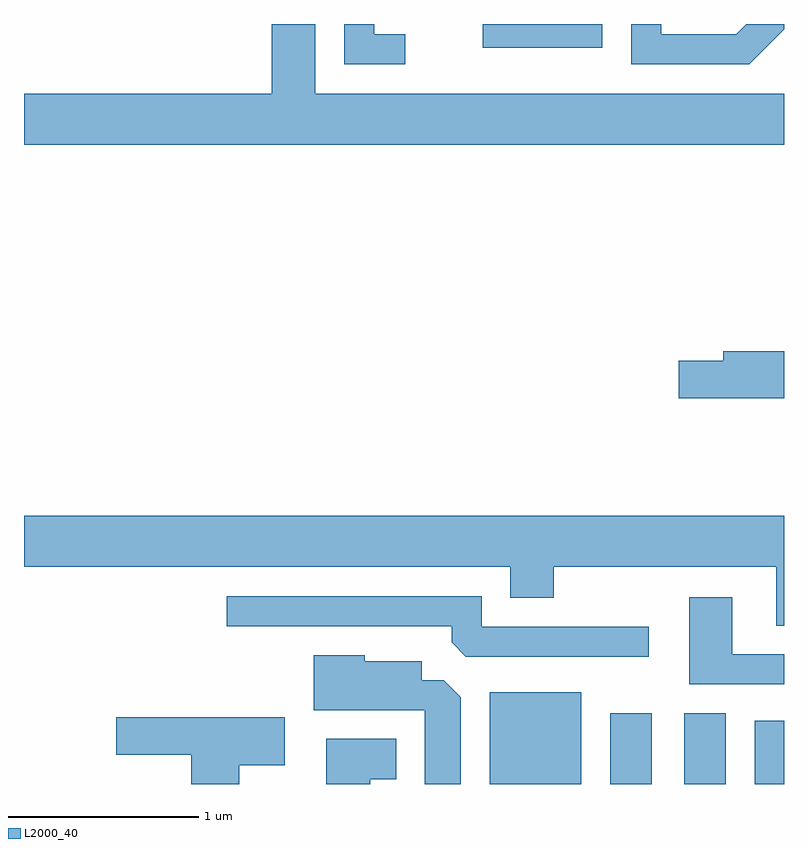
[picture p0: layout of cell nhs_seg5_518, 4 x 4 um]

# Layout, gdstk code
import gdstk
lib = gdstk.Library(unit=1e-6, precision=1e-09)
def R(c, l, rs):  # rectangles x0, y0, x1, y1
    for r in rs: c.add(gdstk.rectangle(r[:2], r[2:], *l))
def P(c, l, *ps):  # polygons
    for p in ps: c.add(gdstk.Polygon(p, *l))
L2000_40 = (2000, 40)

nhs_seg5_518 = lib.new_cell('nhs_seg5_518')
R(nhs_seg5_518, L2000_40, [(202.061,1480.072,202.544,1480.554), (202.696,1480.072,202.914,1480.444), (203.086,1480.072,203.304,1480.444), (203.456,1480.072,203.611,1480.404), (202.026,1483.946,202.654,1484.072)])
P(nhs_seg5_518, L2000_40, [(203.611,1483.704),(201.144,1483.704),(201.144,1484.072),(200.916,1484.072),(200.916,1483.704),(199.611,1483.704),(199.611,1483.436),(203.611,1483.436)],
  [(203.611,1484.045),(203.611,1484.072),(203.411,1484.072),(203.359,1484.019),(202.964,1484.019),(202.964,1484.072),(202.806,1484.072),(202.806,1483.861),(203.427,1483.861)],
  [(201.618,1484.019),(201.454,1484.019),(201.454,1484.072),(201.296,1484.072),(201.296,1483.861),(201.618,1483.861)],
  [(203.611,1482.349),(203.291,1482.349),(203.291,1482.299),(203.056,1482.299),(203.056,1482.101),(203.611,1482.101)],
  [(203.611,1481.484),(199.611,1481.484),(199.611,1481.216),(202.171,1481.216),(202.171,1481.051),(202.399,1481.051),(202.399,1481.216),(203.571,1481.216),(203.571,1480.906),(203.611,1480.906)],
  [(202.898,1480.899),(202.019,1480.899),(202.019,1481.059),(200.678,1481.059),(200.678,1480.901),(201.861,1480.901),(201.861,1480.817),(201.937,1480.741),(202.898,1480.741)],
  [(203.611,1480.754),(203.339,1480.754),(203.339,1481.054),(203.111,1481.054),(203.111,1480.596),(203.611,1480.596)],
  [(201.909,1480.529),(201.819,1480.619),(201.704,1480.619),(201.704,1480.719),(201.404,1480.719),(201.404,1480.749),(201.136,1480.749),(201.136,1480.461),(201.721,1480.461),(201.721,1480.072),(201.909,1480.072)],
  [(200.744,1480.171),(200.984,1480.171),(200.984,1480.424),(200.096,1480.424),(200.096,1480.226),(200.491,1480.226),(200.491,1480.072),(200.744,1480.072)],
  [(201.434,1480.096),(201.569,1480.096),(201.569,1480.309),(201.201,1480.309),(201.201,1480.072),(201.434,1480.072)])

lib.write_gds('nhs_seg5_518.gds')
